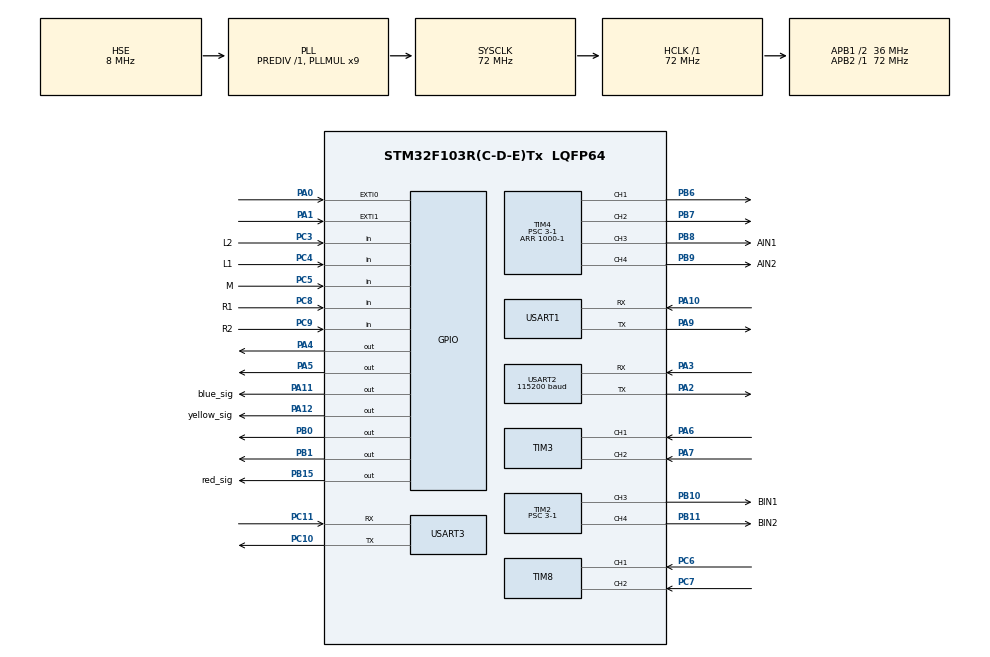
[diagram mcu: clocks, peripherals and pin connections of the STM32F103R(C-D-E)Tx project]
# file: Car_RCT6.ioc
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Mcu.Family=STM32F1
Mcu.Name=STM32F103R(C-D-E)Tx
Mcu.Package=LQFP64
NVIC.EXTI0_IRQn=true\:3\:3\:true\:false\:true\:true\:true\:true
NVIC.EXTI1_IRQn=true\:1\:3\:true\:false\:true\:true\:true\:true
NVIC.PriorityGroup=NVIC_PRIORITYGROUP_2
NVIC.TIM1_UP_IRQn=true\:3\:0\:true\:false\:true\:true\:true\:true
NVIC.TIM3_IRQn=true\:0\:2\:false\:false\:true\:true\:true\:true
NVIC.TIM6_IRQn=true\:3\:0\:true\:false\:true\:true\:true\:true
NVIC.TIM7_IRQn=true\:2\:0\:true\:false\:true\:true\:true\:true
NVIC.TIM8_UP_IRQn=true\:0\:2\:false\:false\:true\:true\:true\:true
NVIC.USART1_IRQn=true\:1\:1\:true\:false\:true\:true\:true\:true
NVIC.USART2_IRQn=true\:1\:2\:true\:false\:true\:true\:true\:true
NVIC.USART3_IRQn=true\:1\:0\:true\:false\:true\:true\:true\:true
PA0-WKUP.GPIO_ModeDefaultEXTI=GPIO_MODE_IT_FALLING
PA0-WKUP.GPIO_PuPd=GPIO_PULLUP
PA0-WKUP.Signal=GPXTI0
PA1.GPIO_ModeDefaultEXTI=GPIO_MODE_IT_FALLING
PA1.GPIO_PuPd=GPIO_PULLUP
PA1.Signal=GPXTI1
PA10.Mode=Asynchronous
PA10.Signal=USART1_RX
PA11.GPIO_Label=blue_sig
PA11.GPIO_ModeDefaultOutputPP=GPIO_MODE_OUTPUT_PP
PA11.GPIO_PuPd=GPIO_PULLDOWN
PA11.GPIO_Speed=GPIO_SPEED_FREQ_MEDIUM
PA11.Signal=GPIO_Output
PA12.GPIO_Label=yellow_sig
PA12.GPIO_ModeDefaultOutputPP=GPIO_MODE_OUTPUT_PP
PA12.GPIO_PuPd=GPIO_PULLDOWN
PA12.GPIO_Speed=GPIO_SPEED_FREQ_MEDIUM
PA12.Signal=GPIO_Output
PA13.Mode=Serial_Wire
PA13.Signal=SYS_JTMS-SWDIO
PA14.Mode=Serial_Wire
PA14.Signal=SYS_JTCK-SWCLK
PA2.Mode=Asynchronous
PA2.Signal=USART2_TX
PA3.Mode=Asynchronous
PA3.Signal=USART2_RX
PA4.Signal=GPIO_Output
PA5.Signal=GPIO_Output
PA6.GPIO_PuPd=GPIO_NOPULL
PA6.Signal=S_TIM3_CH1
PA7.GPIO_PuPd=GPIO_NOPULL
PA7.Signal=S_TIM3_CH2
PA9.Mode=Asynchronous
PA9.Signal=USART1_TX
PB0.Signal=GPIO_Output
PB1.Signal=GPIO_Output
PB10.GPIO_Label=BIN1
PB10.Signal=S_TIM2_CH3
PB11.GPIO_Label=BIN2
PB11.Signal=S_TIM2_CH4
PB15.GPIO_Label=red_sig
PB15.GPIO_ModeDefaultOutputPP=GPIO_MODE_OUTPUT_PP
PB15.GPIO_PuPd=GPIO_PULLDOWN
PB15.GPIO_Speed=GPIO_SPEED_FREQ_MEDIUM
PB15.Signal=GPIO_Output
PB6.Signal=S_TIM4_CH1
PB7.Signal=S_TIM4_CH2
PB8.GPIO_Label=AIN1
PB8.Signal=S_TIM4_CH3
PB9.GPIO_Label=AIN2
PB9.Signal=S_TIM4_CH4
PC10.Mode=Asynchronous
PC10.Signal=USART3_TX
PC11.Mode=Asynchronous
PC11.Signal=USART3_RX
PC3.GPIO_Label=L2
PC3.GPIO_PuPd=GPIO_NOPULL
PC3.Signal=GPIO_Input
PC4.GPIO_Label=L1
PC4.GPIO_PuPd=GPIO_NOPULL
PC4.Signal=GPIO_Input
PC5.GPIO_Label=M
PC5.GPIO_PuPd=GPIO_NOPULL
PC5.Signal=GPIO_Input
PC6.GPIO_PuPd=GPIO_NOPULL
PC6.Signal=S_TIM8_CH1
PC7.GPIO_PuPd=GPIO_NOPULL
PC7.Signal=S_TIM8_CH2
PC8.GPIO_Label=R1
PC8.GPIO_PuPd=GPIO_NOPULL
PC8.Signal=GPIO_Input
PC9.GPIO_Label=R2
PC9.GPIO_PuPd=GPIO_NOPULL
PC9.Signal=GPIO_Input
PD0-OSC_IN.Mode=HSE-External-Oscillator
PD0-OSC_IN.Signal=RCC_OSC_IN
PD1-OSC_OUT.Mode=HSE-External-Oscillator
PD1-OSC_OUT.Signal=RCC_OSC_OUT
ProjectManager.HeapSize=0x200
ProjectManager.StackSize=0x400
ProjectManager.TargetToolchain=MDK-ARM V5
RCC.ADCPresc=RCC_ADCPCLK2_DIV6
RCC.AHBFreq_Value=72000000
RCC.APB1CLKDivider=RCC_HCLK_DIV2
RCC.APB1Freq_Value=36000000
RCC.APB1TimFreq_Value=72000000
RCC.APB2Freq_Value=72000000
RCC.APB2TimFreq_Value=72000000
RCC.HCLKFreq_Value=72000000
RCC.PLLMUL=RCC_PLL_MUL9
RCC.PLLSourceVirtual=RCC_PLLSOURCE_HSE
RCC.SYSCLKFreq_VALUE=72000000
RCC.SYSCLKSource=RCC_SYSCLKSOURCE_PLLCLK
RCC.USBFreq_Value=72000000
SH.S_TIM2_CH3.0=TIM2_CH3,PWM Generation3 CH3
SH.S_TIM2_CH4.0=TIM2_CH4,PWM Generation4 CH4
SH.S_TIM3_CH1.0=TIM3_CH1,Encoder_Interface
SH.S_TIM3_CH2.0=TIM3_CH2,Encoder_Interface
SH.S_TIM4_CH1.0=TIM4_CH1,PWM Generation1 CH1
SH.S_TIM4_CH2.0=TIM4_CH2,PWM Generation2 CH2
SH.S_TIM4_CH3.0=TIM4_CH3,PWM Generation3 CH3
SH.S_TIM4_CH4.0=TIM4_CH4,PWM Generation4 CH4
SH.S_TIM8_CH1.0=TIM8_CH1,Encoder_Interface
SH.S_TIM8_CH2.0=TIM8_CH2,Encoder_Interface
TIM1.AutoReloadPreload=TIM_AUTORELOAD_PRELOAD_ENABLE
TIM1.Period=99
TIM1.Prescaler=7199
TIM2.AutoReloadPreload=TIM_AUTORELOAD_PRELOAD_ENABLE
TIM2.Channel-PWM\ Generation3\ CH3=TIM_CHANNEL_3
TIM2.Channel-PWM\ Generation4\ CH4=TIM_CHANNEL_4
TIM2.Period=1000-1
TIM2.Prescaler=3-1
TIM3.EncoderMode=TIM_ENCODERMODE_TI12
TIM3.IC1Filter=4
TIM3.IC1Polarity=TIM_ICPOLARITY_RISING
TIM3.IC1Prescaler=TIM_ICPSC_DIV1
TIM3.IC2Filter=4
TIM3.IC2Polarity=TIM_ICPOLARITY_RISING
TIM3.IC2Prescaler=TIM_ICPSC_DIV1
TIM4.AutoReloadPreload=TIM_AUTORELOAD_PRELOAD_ENABLE
TIM4.Channel-PWM\ Generation1\ CH1=TIM_CHANNEL_1
TIM4.Channel-PWM\ Generation2\ CH2=TIM_CHANNEL_2
TIM4.Channel-PWM\ Generation3\ CH3=TIM_CHANNEL_3
TIM4.Channel-PWM\ Generation4\ CH4=TIM_CHANNEL_4
TIM4.Period=1000-1
TIM4.Prescaler=3-1
TIM6.Period=5000-1
TIM6.Prescaler=7200-1
TIM7.Period=200-1
TIM7.Prescaler=7200-1
TIM8.EncoderMode=TIM_ENCODERMODE_TI12
TIM8.IC1Filter=4
TIM8.IC1Prescaler=TIM_ICPSC_DIV1
TIM8.IC2Filter=4
TIM8.IC2Prescaler=TIM_ICPSC_DIV1
USART1.VirtualMode=VM_ASYNC
USART2.BaudRate=115200
USART2.VirtualMode=VM_ASYNC
USART3.VirtualMode=VM_ASYNC
VP_TIM1_VS_ClockSourceINT.Mode=Internal
VP_TIM6_VS_ClockSourceINT.Mode=Enable_Timer
VP_TIM7_VS_ClockSourceINT.Mode=Enable_Timer
board=custom

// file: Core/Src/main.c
/* USER CODE BEGIN Header */
/**
  ******************************************************************************
  * @file           : main.c
  * @brief          : Main program body
  ******************************************************************************
  * @attention
  *
  * <h2><center>&copy; Copyright (c) 2023 STMicroelectronics.
  * All rights reserved.</center></h2>
  *
  * This software component is licensed by ST under BSD 3-Clause license,
  * the "License"; You may not use this file except in compliance with the
  * License. You may obtain a copy of the License at:
  *                        opensource.org/licenses/BSD-3-Clause
  *
  ******************************************************************************
  */
/* USER CODE END Header */
#include "main.h"
#include "tim.h"
#include "usart.h"
#include "gpio.h"

/* USER CODE BEGIN Includes */
#include "motor.h"
#include "openmv.h"
#include "stdio.h"
#include "math.h"
#include "pid.h"
//#ifdef  __GNUC__
//#define PUTCHAR_PROTOTYPE int __io_putchar(int ch)
//#else
//#define PUTCHAR_PROTOTYPE int fputc(int ch,FILE *f)
//#endif
//PUTCHAR_PROTOTYPE{
//	HAL_UART_Transmit(&huart3, (uint8_t *)&ch,1,HAL_MAX_DELAY);
//	return ch;
//}//格式化输出定义
/* USER CODE END Includes */

/* USER CODE BEGIN PV */

unsigned int MotorSpeed1,MotorSpeed2;  // 电机当前速度数值，从编码器中获取
int MotorOutput1,MotorOutput2;		  // 电机输出
int MotorOutput_normal;
uint8_t data[8]={0xAA,0xBB,0,0,0,0,0,0xCC};
int Deviation;
float feedbackValue;

//#define motor_2_pwm_nomal 274
//#define motor_1_pwm_nomal 282
float motor_2_pwm_nomal=400;		//测试电机启转承霿PWM倿274
float motor_1_pwm_nomal=400;

//short longnumber1;

uint8_t test=0;//运行阶段检测标志位
uint8_t turn=0;//转弯检测标志位
uint8_t flag_go=1;
uint8_t flag_turn_go=0;//去程转弯指示标志位
uint8_t flag_turn=0;//回程转弯指示标志位
uint8_t turn_cross=0;//t形路口检测标志位
uint8_t cross=0;
int a=1;

uint8_t usart1_rxbuff;
uint8_t usart3_rxbuff;

/* USER CODE END PV */

void SystemClock_Config(void);

/* USER CODE BEGIN 0 */

//int fputc(int ch, FILE *p)
//{
//	while(!(USART1->SR & (1<<7)));    //检查SR标志位是否清零
//	USART1->DR = ch;                  //将内容赋给DR位输出
//
//	return ch;
//}

/* USER CODE END 0 */

int main(void)
{
  /* USER CODE BEGIN 1 */

   float targetValue=90;//这里获取到目标值

  /* USER CODE END 1 */

  /* MCU Configuration--------------------------------------------------------*/

  /* Reset of all peripherals, Initializes the Flash interface and the Systick. */
  HAL_Init();

  /* Configure the system clock */
  SystemClock_Config();

  /* Initialize all configured peripherals */
  MX_GPIO_Init();
  MX_TIM3_Init();
  MX_TIM4_Init();
  MX_TIM6_Init();
  MX_USART2_UART_Init();
  MX_USART3_UART_Init();
  MX_TIM7_Init();
  MX_TIM8_Init();
  MX_TIM2_Init();
  MX_USART1_UART_Init();
  MX_TIM1_Init();
  /* USER CODE BEGIN 2 */
  HAL_TIM_PWM_Start(&htim2, TIM_CHANNEL_3);	    // TIM2_CH3(pwm)
	HAL_TIM_PWM_Start(&htim4, TIM_CHANNEL_3);	    // TIM4_CH3(pwm)
  HAL_TIM_Encoder_Start(&htim3, TIM_CHANNEL_1); // 开启编码器A1
  HAL_TIM_Encoder_Start(&htim3, TIM_CHANNEL_2); // 开启编码器B1
	HAL_TIM_Encoder_Start(&htim8, TIM_CHANNEL_1); // 开启编码器A2
  HAL_TIM_Encoder_Start(&htim8, TIM_CHANNEL_2); // 开启编码器B2
  HAL_TIM_Base_Start_IT(&htim1);                // 使能定时器1中断

HAL_UART_Receive_IT(&huart3,(void *)&usart3_rxbuff,1);
HAL_UART_Receive_IT(&huart1,(void *)&usart1_rxbuff,1);

printf("P:%f I:%f D:%f",kp,ki,kd);

MotorOutput1=motor_1_pwm_nomal;
MotorOutput2=motor_2_pwm_nomal;
__HAL_TIM_SET_COMPARE(&htim2, TIM_CHANNEL_3,MotorOutput1);
__HAL_TIM_SET_COMPARE(&htim4, TIM_CHANNEL_3,MotorOutput2);
//HAL_ADCEx_Calibration_Start(&hadc1);
//HAL_ADC_Start_IT(&hadc1);

  /* USER CODE END 2 */

  /* Infinite loop */
  /* USER CODE BEGIN WHILE */
  while (1)
  {
//		printf("a:%d",a);
//	  rintf("test:%d",test);
		HAL_Delay(100);
		a=HAL_GPIO_ReadPin(GPIOA,GPIO_PIN_1);
    UART_SendStr(data,8);
		feedbackValue=stright;
		if(a==0&&test==0)//等药阶段
		{
		   set_stop();
			flag_turn_go=0;
		}
		if(a==0&&test==1)//前往阶段
		{
		   if(flag_go==1)//前进判断
		   {
			   pid_go();

		   }

			 if(control == 1||control == 2)//12与3-7号房区分
						 {
							 motor_2_pwm_nomal=200;
               motor_1_pwm_nomal=200;
							 if(control == 1)//1号房
							 {
										openmv_turnleft();//路口左转
			//					 turn++;
							 }
							 else if(control == 2)//opmv指示右转
							 {
										 openmv_turnright();
			//							 turn++;
									 }

						 }
						 else//3-8号房
						 {
											 if(flag_turn_go==0)//第一次转向
											 {
																 if(dis_cross_center==1)
																 {
																				 openmv_turnright();
//																				 flag_turn_go++;
//																	       printf("1");
																 }
																 if(dis_cross_center==2)
																 {

                                        openmv_turnleft();

																 }
																 if(dis_cross_center==3)
																 {
																       if(Centre>0)//opmv检测到十字路口
																						{
																											while(Centre!=0)
																											{
																												 pid_go();
																											}
																											if(dis_cross_center==1)
																											{
																												set_stright_go(500);//位置矫正
																											 set_stright_turnright(1000);
																												flag_turn_go++;
				                                               flag_turn++;
																											}
																											else if(dis_cross_center==2)
																											{
																												set_stright_go(500);//位置矫正
																											set_stright_turnleft(1000);//转180度
																												flag_turn_go++;
				                                                flag_turn++;
																											}
																											else if(dis_cross_center==3)
																											{
																										  motor_2_pwm_nomal=300;
																										  motor_1_pwm_nomal=300;
																										  __HAL_TIM_SET_COUNTER(&htim3,0); // 计数器清零
																										  while(((short)(__HAL_TIM_GET_COUNTER(&htim3)))<3600)
																										  {
																										  pid_go();
																										  }
																										  motor_2_pwm_nomal=180;
																									  motor_1_pwm_nomal=180;
																									   }
																										 else if(dis_cross_center==4)
																										{
																												set_stright_go(500);//位置矫正
																											set_stright_turnleft(1000);//转180度
                                                      motor_2_pwm_nomal=300;
																										  motor_1_pwm_nomal=300;
																										  __HAL_TIM_SET_COUNTER(&htim3,0); // 计数器清零
																										  while(((short)(__HAL_TIM_GET_COUNTER(&htim3)))<3600)
																										  {
																										  pid_go();
																										  }
																										  motor_2_pwm_nomal=180;
																									  motor_1_pwm_nomal=180;
																										}

																						}
																	}
																 if(dis_cross_center==4)
																 {
                                   if(Centre>0)//opmv检测到十字路口
																						{
																											while(Centre!=0)
																											{
																												 pid_go();
																											}
																											if(dis_cross_center==1)
																											{
																												set_stright_go(500);//位置矫正
																											 set_stright_turnright(1000);
																												flag_turn_go++;
				                                               flag_turn_go++;
																											}
																											else if(dis_cross_center==2)
																											{
																												set_stright_go(500);//位置矫正
																											set_stright_turnleft(1000);//转180度
																												flag_turn_go++;
				                                                flag_turn_go++;
																											}
																											if(dis_cross_center==4)
																										 {
																												set_stright_go(500);//位置矫正
																											set_stright_turnleft(1000);//转180度
                                                      motor_2_pwm_nomal=300;
																										  motor_1_pwm_nomal=300;
																										  __HAL_TIM_SET_COUNTER(&htim3,0); // 计数器清零
																										  while(((short)(__HAL_TIM_GET_COUNTER(&htim3)))<3600)
																										  {
																										  pid_go();
																										  }
																										  motor_2_pwm_nomal=180;
																									   motor_1_pwm_nomal=180;
																										 }
																										 else if(dis_cross_center==5)
																										 {
																														 set_stright_turnleft(2000);//转180度
																														 flag_turn_go++;
																														 motor_2_pwm_nomal=400;
																														 motor_1_pwm_nomal=400;
																															__HAL_TIM_SET_COUNTER(&htim3,0); // 计数器清零
																														 while(((short)(__HAL_TIM_GET_COUNTER(&htim3)))<8000)
																														 {
																														 pid_go();
																														 }
																														motor_2_pwm_nomal=180;
																														motor_1_pwm_nomal=180;
																										 }

																 }
															 }
																 if(dis_cross_center==5)
																 {

																	if(Centre>0)//opmv检测到十字路口
																						{
																											while(Centre!=0)
																											{
																												 pid_go();
																											}
																				if(dis_cross_center==5)
																				{
																				 set_stright_turnleft(2000);//转180度
																				 flag_turn_go++;
																	       motor_2_pwm_nomal=400;
																				 motor_1_pwm_nomal=400;
																			  	__HAL_TIM_SET_COUNTER(&htim3,0); // 计数器清零
																				 while(((short)(__HAL_TIM_GET_COUNTER(&htim3)))<8000)
																				 {
																				 pid_go();
																				 }
																				motor_2_pwm_nomal=180;
																				motor_1_pwm_nomal=180;

																      }
															    }

																 HAL_Delay(50);

												}
											}
											 else if(flag_turn_go==1)//第二次转向
											 {

																											 if(dis_cross_center_2==1)
																											 {
//																													set_stright_go(500);//位置矫正
//																													set_stright_turnright(1000);//转180度
																															 openmv_turnright();
																															 flag_turn_go++;
																											 }
																											 else if(dis_cross_center_2==2)
																											 {
//																												 set_stright_go(500);//位置矫正
//																											   set_stright_turnleft(1000);//转180度
																															 openmv_turnleft();
																															 flag_turn_go++;
																											 }

											 }
						 }
						 if(at_terminal==1)//终点停止
						 {
							   data[6]=1;
							   data[5]=dis_cross_center_2;
                 data[4]=dis_cross_center;
							   data[3]=0;
                 data[2]=0;
								 HAL_Delay(1000);
								 set_stop();
								 test++;

//                 for(int i;i<6;i++)
//                  {
//									  UART_SendStr(data,7);
//									}
		         }
     UART_SendStr(data,8);
		}
		if(a==1&&test==2)//终点转向
		{
			       data[6]=1;
             data[5]=dis_cross_center_2;
             data[4]=dis_cross_center;
						 data[3]=1;
             data[2]=0;
			       set_stright_turnleft(1980);
						 test++;
             flag_turn=0;

			       for(int i;i<6;i++)
                  {
									  UART_SendStr(data,8);
									}

		}
		if(a==1&&test==3)//回程阶段
		{

								pid_go();
                UART_SendStr(data,8);
             if(cross>=1)
                   {
										data[6]=1;
									  data[5]=dis_cross_center_2;
                    data[4]=dis_cross_center;
						        data[3]=1;
                    data[2]=1;
//										 for(int i;i<6;i++)
//                     {
//									  UART_SendStr(data,7);
//									   }
									 }

						 if(control == 1||control == 2)//1、2与3-7号房区分
										{
											 motor_2_pwm_nomal=200;
                       motor_1_pwm_nomal=200;
											 if(control == 2)//2号
											 {
												 openmv_turnleft();
			//									 turn--;
											 }
											 else if(control == 1)//1号
											 {
												 openmv_turnright();
			//									 turn--;

											 }
										 }
						 else//3-7号房
										{

										 if(dis_cross_center==2&&dis_cross_center_2==3)//2-1号房
										 {
											 if(flag_turn==0)
												 {
											    openmv_turnright();

													motor_2_pwm_nomal=300;
						              motor_1_pwm_nomal=300;
                          cross++;
										     }
										  }
										 else if(dis_cross_center==1&&dis_cross_center_2==3)//2-2号房
										 {
											 if(flag_turn==0)
												 {
													openmv_turnleft();
//													 flag_turn++;
													motor_2_pwm_nomal=300;
						              motor_1_pwm_nomal=300;
                          cross++;
												 }
										 }
										 else if(dis_cross_center==2&&dis_cross_center_2==2)//3-1号房
										 {
											 if(flag_turn==0)
											 {
													openmv_turnright();
//												 flag_turn++;
											 }
											 else if(flag_turn==1)
											 {
												 openmv_turnright();
//												 flag_turn++;
												 motor_2_pwm_nomal=300;
						             motor_1_pwm_nomal=300;
											 }
											 else if(flag_turn==2)
											 {
											    if(Centre>0)//opmv检测到十字路口
											    {
													while(Centre!=0)
													{
														 pid_go();
													}
													cross++;
											    }
										   }
										 }
										 else if(dis_cross_center==2&&dis_cross_center_2==1)//3-2号房
										 {
											 if(flag_turn==0)
											 {
													openmv_turnleft();
//												 flag_turn++;

											 }
											 else if(flag_turn==1)
											 {
												 openmv_turnright();
//												 flag_turn++;
												 motor_2_pwm_nomal=300;
						             motor_1_pwm_nomal=300;
											 }
											 else if(flag_turn==2)
											 {
											    if(Centre>0)//opmv检测到十字路口
											    {
													while(Centre!=0)
													{
														 pid_go();
													}
													cross++;
											    }
										   }
										 }
										 else if(dis_cross_center==1&&dis_cross_center_2==1)//3-3号房
										 {
												if(flag_turn==0)
											 {
													openmv_turnleft();
//												 flag_turn++;

											 }
											 else if(flag_turn==1)
											 {
												 openmv_turnleft();
//												 flag_turn++;
												 motor_2_pwm_nomal=300;
						             motor_1_pwm_nomal=300;
										  }
											 else if(flag_turn==2)
											 {
											    if(Centre>0)//opmv检测到十字路口
											    {
													while(Centre!=0)
													{
														 pid_go();
													}
													cross++;
											    }
										   }
									 }
										 else if(dis_cross_center==1&&dis_cross_center_2==2)//3-4号房
										 {
											 if(flag_turn==0)
											 {
													openmv_turnright();
//												 flag_turn++;
											 }
											 else if(flag_turn==1)
											 {
												 openmv_turnleft();
//												 flag_turn++;
												 	 motor_2_pwm_nomal=300;
						             motor_1_pwm_nomal=300;
										   }
											 else if(flag_turn==2)
											 {
											    if(Centre>0)//opmv检测到十字路口
											    {
													while(Centre!=0)
													{
														 pid_go();
													}
													cross++;
											    }
										   }
											}

									}
						 if(at_terminal==1)//终点停转
										{
										 HAL_Delay(400);
										 set_stop();
											test++;
						//				 while(1);
										}

    /* USER CODE END WHILE */

     }
	}
}

void SystemClock_Config(void)
{
  RCC_OscInitTypeDef RCC_OscInitStruct = {0};
  RCC_ClkInitTypeDef RCC_ClkInitStruct = {0};

  /** Initializes the RCC Oscillators according to the specified parameters
  * in the RCC_OscInitTypeDef structure.
  */
  RCC_OscInitStruct.OscillatorType = RCC_OSCILLATORTYPE_HSE;
  RCC_OscInitStruct.HSEState = RCC_HSE_ON;
  RCC_OscInitStruct.HSEPredivValue = RCC_HSE_PREDIV_DIV1;
  RCC_OscInitStruct.HSIState = RCC_HSI_ON;
  RCC_OscInitStruct.PLL.PLLState = RCC_PLL_ON;
  RCC_OscInitStruct.PLL.PLLSource = RCC_PLLSOURCE_HSE;
  RCC_OscInitStruct.PLL.PLLMUL = RCC_PLL_MUL9;
  if (HAL_RCC_OscConfig(&RCC_OscInitStruct) != HAL_OK)
  {
    Error_Handler();
  }
  /** Initializes the CPU, AHB and APB buses clocks
  */
  RCC_ClkInitStruct.ClockType = RCC_CLOCKTYPE_HCLK|RCC_CLOCKTYPE_SYSCLK
                              |RCC_CLOCKTYPE_PCLK1|RCC_CLOCKTYPE_PCLK2;
  RCC_ClkInitStruct.SYSCLKSource = RCC_SYSCLKSOURCE_PLLCLK;
  RCC_ClkInitStruct.AHBCLKDivider = RCC_SYSCLK_DIV1;
  RCC_ClkInitStruct.APB1CLKDivider = RCC_HCLK_DIV2;
  RCC_ClkInitStruct.APB2CLKDivider = RCC_HCLK_DIV1;

  if (HAL_RCC_ClockConfig(&RCC_ClkInitStruct, FLASH_LATENCY_2) != HAL_OK)
  {
    Error_Handler();
  }
}

/* USER CODE BEGIN 4 */
void HAL_TIM_PeriodElapsedCallback(TIM_HandleTypeDef *htim)//定时器中断回调
{

}
void HAL_UART_RxCpltCallback(UART_HandleTypeDef *huart)//串口中断回调
{
  uint16_t tem3;
  uint16_t tem1;
  if(huart->Instance==USART3)
  {
    tem3=usart3_rxbuff;
    Openmv_Receive_Data(tem3);
  }

  if(huart->Instance==USART1)
  {
    tem1=usart1_rxbuff;
  }
    HAL_UART_Receive_IT(&huart3,(void *)&usart3_rxbuff,1);
    HAL_UART_Receive_IT(&huart1,(void *)&usart1_rxbuff,1);
 }

void HAL_GPIO_EXTI_Callback(uint16_t GPIO_Pin)//按键中断回调
{
  if (GPIO_Pin ==GPIO_PIN_1)
  {
  test++;
  HAL_NVIC_DisableIRQ(EXTI1_IRQn);//进入送药阶段，关闭中断防抖
  }
  if (GPIO_Pin ==GPIO_PIN_0)
  {

  }
}

/* USER CODE END 4 */

void Error_Handler(void)
{
  __disable_irq();
  while (1)
  {
  }
}

/************************ (C) COPYRIGHT STMicroelectronics *****END OF FILE****/
